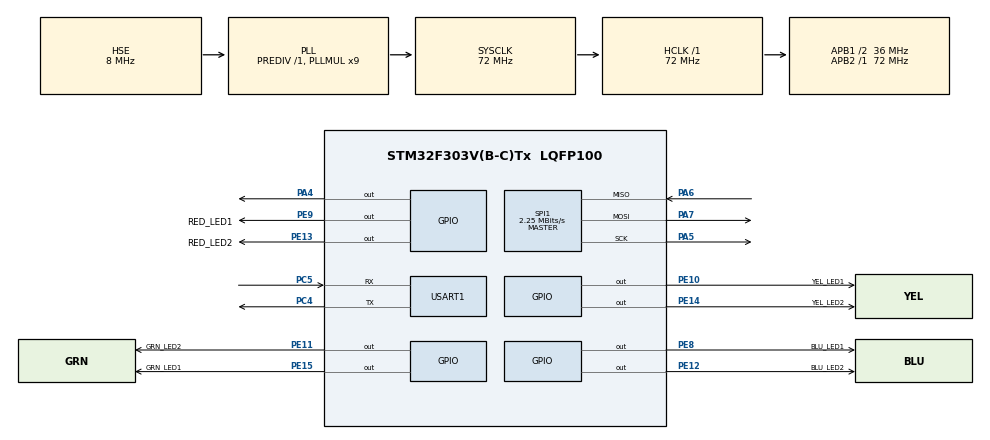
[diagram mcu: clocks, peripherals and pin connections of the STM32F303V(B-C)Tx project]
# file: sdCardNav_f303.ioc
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FATFS._MAX_SS=4096
FATFS._USE_LFN=1
Mcu.Family=STM32F3
Mcu.Name=STM32F303V(B-C)Tx
Mcu.Package=LQFP100
NVIC.PriorityGroup=NVIC_PRIORITYGROUP_4
PA13.Mode=Serial_Wire
PA13.Signal=SYS_JTMS-SWDIO
PA14.Mode=Serial_Wire
PA14.Signal=SYS_JTCK-SWCLK
PA4.Signal=GPIO_Output
PA5.Mode=Full_Duplex_Master
PA5.Signal=SPI1_SCK
PA6.Mode=Full_Duplex_Master
PA6.Signal=SPI1_MISO
PA7.Mode=Full_Duplex_Master
PA7.Signal=SPI1_MOSI
PC4.Mode=Asynchronous
PC4.Signal=USART1_TX
PC5.Mode=Asynchronous
PC5.Signal=USART1_RX
PE10.GPIO_Label=YEL_LED1
PE10.Signal=GPIO_Output
PE11.GPIO_Label=GRN_LED2
PE11.Signal=GPIO_Output
PE12.GPIO_Label=BLU_LED2
PE12.Signal=GPIO_Output
PE13.GPIO_Label=RED_LED2
PE13.Signal=GPIO_Output
PE14.GPIO_Label=YEL_LED2
PE14.Signal=GPIO_Output
PE15.GPIO_Label=GRN_LED1
PE15.Signal=GPIO_Output
PE8.GPIO_Label=BLU_LED1
PE8.Signal=GPIO_Output
PE9.GPIO_Label=RED_LED1
PE9.Signal=GPIO_Output
PF0-OSC_IN.Mode=HSE-External-Oscillator
PF0-OSC_IN.Signal=RCC_OSC_IN
PF1-OSC_OUT.Mode=HSE-External-Oscillator
PF1-OSC_OUT.Signal=RCC_OSC_OUT
ProjectManager.HeapSize=0x200
ProjectManager.StackSize=0x400
ProjectManager.TargetToolchain=STM32CubeIDE
RCC.AHBFreq_Value=72000000
RCC.APB1CLKDivider=RCC_HCLK_DIV2
RCC.APB1Freq_Value=36000000
RCC.APB1TimFreq_Value=72000000
RCC.APB2Freq_Value=72000000
RCC.APB2TimFreq_Value=72000000
RCC.CortexFreq_Value=72000000
RCC.HCLKFreq_Value=72000000
RCC.HSE_VALUE=8000000
RCC.HSI_VALUE=8000000
RCC.LSE_VALUE=32768
RCC.PLLMUL=RCC_PLL_MUL9
RCC.PLLSourceVirtual=RCC_PLLSOURCE_HSE
RCC.SYSCLKFreq_VALUE=72000000
RCC.SYSCLKSourceVirtual=RCC_SYSCLKSOURCE_PLLCLK
RCC.USBFreq_Value=72000000
SPI1.BaudRatePrescaler=SPI_BAUDRATEPRESCALER_32
SPI1.CalculateBaudRate=2.25 MBits/s
SPI1.DataSize=SPI_DATASIZE_8BIT
SPI1.Direction=SPI_DIRECTION_2LINES
SPI1.Mode=SPI_MODE_MASTER
SPI1.VirtualType=VM_MASTER
USART1.VirtualMode-Asynchronous=VM_ASYNC
VP_FATFS_VS_Generic.Mode=User_defined
board=custom

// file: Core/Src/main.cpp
/* USER CODE BEGIN Header */
/**
 ******************************************************************************
 * @file           : main.c
 * @brief          : Main program body
 ******************************************************************************
 * @attention
 *
 * Copyright (c) 2022 STMicroelectronics.
 * All rights reserved.
 *
 * This software is licensed under terms that can be found in the LICENSE file
 * in the root directory of this software component.
 * If no LICENSE file comes with this software, it is provided AS-IS.
 *
 ******************************************************************************
 */
/* USER CODE END Header */
#include "main.h"
#include "fatfs.h"

/* USER CODE BEGIN Includes */
#include "fatfs_sd.h"
/* USER CODE END Includes */

SPI_HandleTypeDef hspi1;

UART_HandleTypeDef huart1;

void SystemClock_Config(void);
static void MX_GPIO_Init(void);
static void MX_SPI1_Init(void);
static void MX_USART1_UART_Init(void);

int main(void) {

	/* MCU Configuration--------------------------------------------------------*/

	/* Reset of all peripherals, Initializes the Flash interface and the Systick. */
	HAL_Init();

	/* Configure the system clock */
	SystemClock_Config();

	/* Initialize all configured peripherals */
	MX_GPIO_Init();
	MX_SPI1_Init();
	MX_USART1_UART_Init();
	MX_FATFS_Init();
	/* USER CODE BEGIN 2 */
	//sd card operations:
	FRESULT res;
	FATFS fs;

	res = f_mount(&fs, "/", 1);
	if (res != FR_OK) {
		while (1) {
			HAL_GPIO_TogglePin(GPIOE, RED_LED1_Pin);
			HAL_Delay(250);
		}
	}
	/* USER CODE END 2 */

	/* Infinite loop */
	/* USER CODE BEGIN WHILE */
	while (1) {

		//progress circle:
		HAL_GPIO_TogglePin(GPIOE, RED_LED1_Pin);
		HAL_Delay(50);
		HAL_GPIO_TogglePin(GPIOE, YEL_LED1_Pin);
		HAL_Delay(50);
		HAL_GPIO_TogglePin(GPIOE, GRN_LED2_Pin);
		HAL_Delay(50);
		HAL_GPIO_TogglePin(GPIOE, BLU_LED2_Pin);
		HAL_Delay(50);
		HAL_GPIO_TogglePin(GPIOE, RED_LED2_Pin);
		HAL_Delay(50);
		HAL_GPIO_TogglePin(GPIOE, YEL_LED2_Pin);
		HAL_Delay(50);
		HAL_GPIO_TogglePin(GPIOE, GRN_LED1_Pin);
		HAL_Delay(50);
		HAL_GPIO_TogglePin(GPIOE, BLU_LED1_Pin);
		HAL_Delay(50);
		/* USER CODE END WHILE */

	}
}

void SystemClock_Config(void) {
	RCC_OscInitTypeDef RCC_OscInitStruct = { 0 };
	RCC_ClkInitTypeDef RCC_ClkInitStruct = { 0 };
	RCC_PeriphCLKInitTypeDef PeriphClkInit = { 0 };

	/** Initializes the RCC Oscillators according to the specified parameters
	 * in the RCC_OscInitTypeDef structure.
	 */
	RCC_OscInitStruct.OscillatorType = RCC_OSCILLATORTYPE_HSE;
	RCC_OscInitStruct.HSEState = RCC_HSE_ON;
	RCC_OscInitStruct.HSEPredivValue = RCC_HSE_PREDIV_DIV1;
	RCC_OscInitStruct.HSIState = RCC_HSI_ON;
	RCC_OscInitStruct.PLL.PLLState = RCC_PLL_ON;
	RCC_OscInitStruct.PLL.PLLSource = RCC_PLLSOURCE_HSE;
	RCC_OscInitStruct.PLL.PLLMUL = RCC_PLL_MUL9;
	if (HAL_RCC_OscConfig(&RCC_OscInitStruct) != HAL_OK) {
		Error_Handler();
	}

	/** Initializes the CPU, AHB and APB buses clocks
	 */
	RCC_ClkInitStruct.ClockType = RCC_CLOCKTYPE_HCLK | RCC_CLOCKTYPE_SYSCLK
			| RCC_CLOCKTYPE_PCLK1 | RCC_CLOCKTYPE_PCLK2;
	RCC_ClkInitStruct.SYSCLKSource = RCC_SYSCLKSOURCE_PLLCLK;
	RCC_ClkInitStruct.AHBCLKDivider = RCC_SYSCLK_DIV1;
	RCC_ClkInitStruct.APB1CLKDivider = RCC_HCLK_DIV2;
	RCC_ClkInitStruct.APB2CLKDivider = RCC_HCLK_DIV1;

	if (HAL_RCC_ClockConfig(&RCC_ClkInitStruct, FLASH_LATENCY_2) != HAL_OK) {
		Error_Handler();
	}
	PeriphClkInit.PeriphClockSelection = RCC_PERIPHCLK_USART1;
	PeriphClkInit.Usart1ClockSelection = RCC_USART1CLKSOURCE_PCLK2;
	if (HAL_RCCEx_PeriphCLKConfig(&PeriphClkInit) != HAL_OK) {
		Error_Handler();
	}
}

static void MX_SPI1_Init(void) {

	/* SPI1 parameter configuration*/
	hspi1.Instance = SPI1;
	hspi1.Init.Mode = SPI_MODE_MASTER;
	hspi1.Init.Direction = SPI_DIRECTION_2LINES;
	hspi1.Init.DataSize = SPI_DATASIZE_8BIT;
	hspi1.Init.CLKPolarity = SPI_POLARITY_LOW;
	hspi1.Init.CLKPhase = SPI_PHASE_1EDGE;
	hspi1.Init.NSS = SPI_NSS_SOFT;
	hspi1.Init.BaudRatePrescaler = SPI_BAUDRATEPRESCALER_32;
	hspi1.Init.FirstBit = SPI_FIRSTBIT_MSB;
	hspi1.Init.TIMode = SPI_TIMODE_DISABLE;
	hspi1.Init.CRCCalculation = SPI_CRCCALCULATION_DISABLE;
	hspi1.Init.CRCPolynomial = 7;
	hspi1.Init.CRCLength = SPI_CRC_LENGTH_DATASIZE;
	hspi1.Init.NSSPMode = SPI_NSS_PULSE_ENABLE;
	if (HAL_SPI_Init(&hspi1) != HAL_OK) {
		Error_Handler();
	}

}

static void MX_USART1_UART_Init(void) {

	huart1.Instance = USART1;
	huart1.Init.BaudRate = 38400;
	huart1.Init.WordLength = UART_WORDLENGTH_8B;
	huart1.Init.StopBits = UART_STOPBITS_1;
	huart1.Init.Parity = UART_PARITY_NONE;
	huart1.Init.Mode = UART_MODE_TX_RX;
	huart1.Init.HwFlowCtl = UART_HWCONTROL_NONE;
	huart1.Init.OverSampling = UART_OVERSAMPLING_16;
	huart1.Init.OneBitSampling = UART_ONE_BIT_SAMPLE_DISABLE;
	huart1.AdvancedInit.AdvFeatureInit = UART_ADVFEATURE_NO_INIT;
	if (HAL_UART_Init(&huart1) != HAL_OK) {
		Error_Handler();
	}

}

static void MX_GPIO_Init(void) {
	GPIO_InitTypeDef GPIO_InitStruct = { 0 };

	/* GPIO Ports Clock Enable */
	__HAL_RCC_GPIOF_CLK_ENABLE();
	__HAL_RCC_GPIOA_CLK_ENABLE();
	__HAL_RCC_GPIOC_CLK_ENABLE();
	__HAL_RCC_GPIOE_CLK_ENABLE();

	/*Configure GPIO pin Output Level */
	HAL_GPIO_WritePin(GPIOA, GPIO_PIN_4, GPIO_PIN_RESET);

	/*Configure GPIO pin Output Level */
	HAL_GPIO_WritePin(GPIOE,
			BLU_LED1_Pin | RED_LED1_Pin | YEL_LED1_Pin | GRN_LED2_Pin
					| BLU_LED2_Pin | RED_LED2_Pin | YEL_LED2_Pin | GRN_LED1_Pin,
			GPIO_PIN_RESET);

	/*Configure GPIO pin : PA4 */
	GPIO_InitStruct.Pin = GPIO_PIN_4;
	GPIO_InitStruct.Mode = GPIO_MODE_OUTPUT_PP;
	GPIO_InitStruct.Pull = GPIO_NOPULL;
	GPIO_InitStruct.Speed = GPIO_SPEED_FREQ_LOW;
	HAL_GPIO_Init(GPIOA, &GPIO_InitStruct);

	/*Configure GPIO pins : BLU_LED1_Pin RED_LED1_Pin YEL_LED1_Pin GRN_LED2_Pin
	 BLU_LED2_Pin RED_LED2_Pin YEL_LED2_Pin GRN_LED1_Pin */
	GPIO_InitStruct.Pin = BLU_LED1_Pin | RED_LED1_Pin | YEL_LED1_Pin
			| GRN_LED2_Pin | BLU_LED2_Pin | RED_LED2_Pin | YEL_LED2_Pin
			| GRN_LED1_Pin;
	GPIO_InitStruct.Mode = GPIO_MODE_OUTPUT_PP;
	GPIO_InitStruct.Pull = GPIO_NOPULL;
	GPIO_InitStruct.Speed = GPIO_SPEED_FREQ_LOW;
	HAL_GPIO_Init(GPIOE, &GPIO_InitStruct);

}

void Error_Handler(void) {
	__disable_irq();
	while (1) {
	}
}
